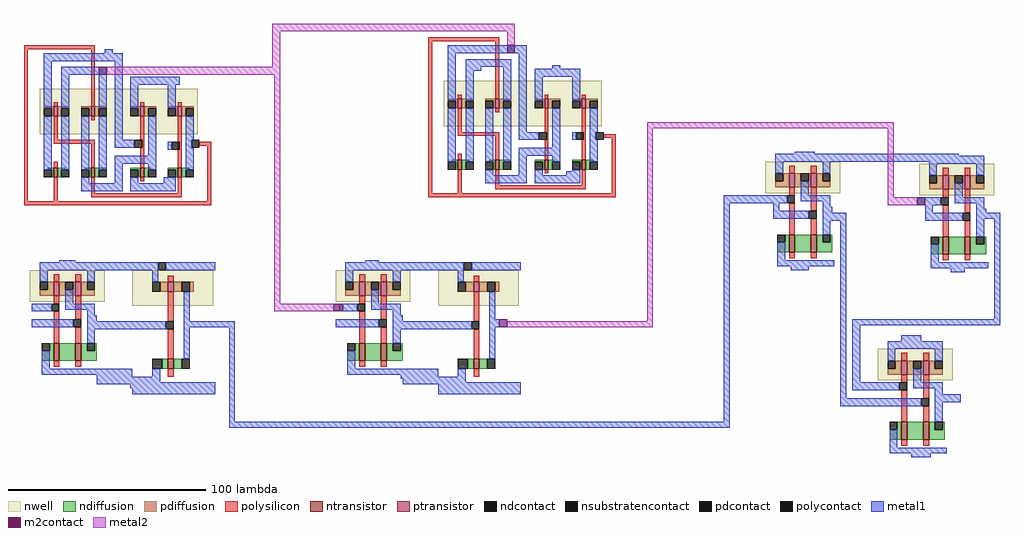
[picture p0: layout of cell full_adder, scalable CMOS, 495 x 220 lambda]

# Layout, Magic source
magic
tech scmos
<< metal1 >>
rect 41 75 45 78
rect 228 67 232 69
rect 268 68 272 70
rect 268 67 276 68
rect 77 60 79 64
rect 278 32 280 36
rect 73 27 75 31
rect 396 24 401 26
rect 275 14 279 16
rect 71 10 74 13
rect 72 9 74 10
rect 355 1 378 4
rect 355 0 375 1
rect 23 -30 26 -29
rect 178 -30 180 -29
rect 4 -55 5 -51
rect 4 -63 6 -59
rect 86 -63 107 -60
rect 158 -63 161 -59
rect 239 -61 241 -59
rect 54 -94 56 -92
rect 104 -111 107 -63
rect 191 -89 192 -87
rect 355 -111 358 0
rect 389 -34 393 -32
rect 470 -35 472 -33
rect 445 -71 449 -67
rect 470 -101 475 -97
rect 104 -114 358 -111
rect 457 -129 460 -127
<< metal2 >>
rect 126 87 249 91
rect 126 69 130 87
rect 245 80 249 87
rect 42 65 130 69
rect 127 -51 130 65
rect 316 38 441 41
rect 127 -55 157 -51
rect 316 -60 319 38
rect 438 3 441 38
rect 438 -1 453 3
rect 245 -63 319 -60
<< polycontact >>
rect 280 32 284 36
rect 75 27 79 31
<< m2contact >>
rect 245 76 249 80
rect 38 65 42 69
rect 157 -55 162 -51
rect 241 -63 245 -59
rect 453 -1 457 3
use or2  or2_0
transform 1 0 457 0 1 -75
box -83 -54 38 101
use and2  and2_1
transform 1 0 210 0 1 -97
box -52 0 42 68
use and2  and2_0
transform 1 0 55 0 1 -97
box -52 0 42 68
use xor2  xor2_0
transform 1 0 -62 0 1 52
box 62 -53 157 28
use xor2  xor2_1
transform 1 0 143 0 1 56
box 62 -53 157 28
<< end >>

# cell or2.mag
magic
tech scmos
<< metal1 >>
rect -49 99 13 100
rect -48 96 4 99
rect -83 75 -72 79
rect -77 67 -74 75
rect -4 74 5 78
rect -49 66 -40 70
rect 0 66 4 74
rect 30 67 38 70
rect -66 41 -59 43
rect -43 -24 -40 66
rect 14 40 20 42
rect 35 16 38 67
rect -37 13 38 16
rect -37 -16 -33 13
rect -9 5 -2 8
rect -9 2 -3 5
rect -37 -20 -15 -16
rect -43 -25 -14 -24
rect -43 -28 -16 -25
rect 10 -26 13 -22
rect -7 -54 1 -52
use nand2  nand2_2
transform 1 0 -17 0 1 -29
box -7 -23 31 35
use nand2  nand2_1
transform 1 0 4 0 1 65
box -7 -23 31 35
use nand2  nand2_0
transform 1 0 -74 0 1 66
box -7 -23 31 35
<< labels >>
rlabel metal1 -19 100 -19 100 5 vdd
rlabel metal1 -2 6 -2 6 1 vdd
rlabel metal1 -59 42 -59 42 1 gnd
rlabel metal1 20 41 20 41 1 gnd
rlabel metal1 -7 -53 -7 -53 1 gnd
rlabel metal1 -83 77 -83 77 3 A
rlabel metal1 -4 76 -4 76 1 B
rlabel metal1 13 -24 13 -24 1 out
<< end >>

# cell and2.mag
magic
tech scmos
<< metal1 >>
rect -20 63 1 67
rect 41 63 42 67
rect -50 42 -44 46
rect -50 34 -45 38
rect -20 37 -19 38
rect -20 33 16 37
rect 28 35 31 37
rect 29 34 31 35
rect -18 9 0 13
rect -18 8 10 9
rect -18 5 12 8
use nand2  nand2_0
transform 1 0 -45 0 1 33
box -7 -23 31 35
use not  not_0
transform 1 0 21 0 1 34
box -21 -34 21 33
<< labels >>
rlabel metal1 -50 44 -50 44 3 A
rlabel metal1 -50 36 -50 36 3 B
rlabel metal1 42 65 42 65 6 vdd
rlabel metal1 6 9 6 9 1 gnd
rlabel metal1 31 36 31 36 1 out
<< end >>

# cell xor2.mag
magic
tech scmos
<< nwell >>
rect 70 -17 150 6
<< polysilicon >>
rect 62 26 98 28
rect 62 -51 64 26
rect 77 -3 79 -1
rect 96 -3 98 26
rect 121 -3 123 -1
rect 140 -3 142 -1
rect 77 -20 79 -8
rect 96 -10 98 -8
rect 121 -20 123 -8
rect 77 -22 98 -20
rect 77 -34 79 -31
rect 96 -34 98 -22
rect 122 -24 123 -20
rect 121 -34 123 -24
rect 140 -34 142 -8
rect 151 -23 157 -21
rect 77 -51 79 -39
rect 96 -47 98 -39
rect 121 -41 123 -39
rect 140 -47 142 -39
rect 96 -49 142 -47
rect 155 -51 157 -23
rect 62 -53 157 -51
<< ndiffusion >>
rect 74 -35 77 -34
rect 76 -39 77 -35
rect 79 -35 83 -34
rect 93 -35 96 -34
rect 79 -39 81 -35
rect 95 -39 96 -35
rect 98 -35 104 -34
rect 98 -39 100 -35
rect 116 -35 121 -34
rect 120 -39 121 -35
rect 123 -35 126 -34
rect 135 -35 140 -34
rect 123 -39 125 -35
rect 139 -39 140 -35
rect 142 -35 146 -34
rect 142 -39 144 -35
<< pdiffusion >>
rect 72 -4 77 -3
rect 76 -8 77 -4
rect 79 -4 85 -3
rect 79 -8 81 -4
rect 91 -4 96 -3
rect 95 -8 96 -4
rect 98 -4 104 -3
rect 98 -8 100 -4
rect 116 -4 121 -3
rect 120 -8 121 -4
rect 123 -4 129 -3
rect 123 -8 125 -4
rect 135 -4 140 -3
rect 139 -8 140 -4
rect 142 -4 148 -3
rect 142 -8 144 -4
<< metal1 >>
rect 72 20 112 24
rect 72 -4 76 20
rect 72 -35 76 -8
rect 81 13 104 17
rect 81 -4 85 13
rect 100 -4 104 13
rect 81 -35 85 -8
rect 91 -35 95 -8
rect 100 -35 104 -8
rect 108 -20 112 20
rect 116 8 139 12
rect 116 -4 120 8
rect 135 -4 139 8
rect 108 -24 118 -20
rect 125 -28 129 -8
rect 108 -32 129 -28
rect 91 -42 95 -39
rect 108 -42 112 -32
rect 125 -35 129 -32
rect 144 -20 148 -8
rect 144 -24 147 -20
rect 144 -35 148 -24
rect 91 -46 112 -42
rect 116 -42 120 -39
rect 135 -42 139 -39
rect 116 -46 139 -42
<< ntransistor >>
rect 77 -39 79 -34
rect 96 -39 98 -34
rect 121 -39 123 -34
rect 140 -39 142 -34
<< ptransistor >>
rect 77 -8 79 -3
rect 96 -8 98 -3
rect 121 -8 123 -3
rect 140 -8 142 -3
<< polycontact >>
rect 118 -24 122 -20
rect 147 -24 151 -20
<< ndcontact >>
rect 72 -39 76 -35
rect 81 -39 85 -35
rect 91 -39 95 -35
rect 100 -39 104 -35
rect 116 -39 120 -35
rect 125 -39 129 -35
rect 135 -39 139 -35
rect 144 -39 148 -35
<< pdcontact >>
rect 72 -8 76 -4
rect 81 -8 85 -4
rect 91 -8 95 -4
rect 100 -8 104 -4
rect 116 -8 120 -4
rect 125 -8 129 -4
rect 135 -8 139 -4
rect 144 -8 148 -4
<< labels >>
rlabel metal1 83 15 83 15 1 out
rlabel metal1 129 -44 129 -44 1 gnd
rlabel metal1 128 9 128 9 1 vdd
rlabel polysilicon 122 -19 122 -19 1 va
rlabel polysilicon 141 -19 141 -19 1 vb
rlabel metal1 127 -23 127 -23 1 vad
rlabel metal1 146 -24 146 -24 1 vbd
<< end >>

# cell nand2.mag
magic
tech scmos
<< nwell >>
rect -7 14 31 30
<< polysilicon >>
rect 5 24 8 28
rect 16 24 19 28
rect 5 13 8 17
rect 5 -7 8 9
rect 16 5 19 17
rect 16 -7 19 1
rect 5 -19 8 -16
rect 16 -19 19 -16
<< ndiffusion >>
rect 3 -11 5 -7
rect -1 -16 5 -11
rect 8 -16 16 -7
rect 19 -11 22 -7
rect 26 -11 27 -7
rect 19 -16 27 -11
<< pdiffusion >>
rect 2 20 5 24
rect -2 17 5 20
rect 8 20 11 24
rect 15 20 16 24
rect 8 17 16 20
rect 19 20 22 24
rect 19 17 26 20
<< metal1 >>
rect 8 34 13 35
rect -2 30 26 34
rect -2 24 2 30
rect 22 24 26 30
rect 11 13 15 20
rect -1 9 4 13
rect 11 10 26 13
rect 22 7 26 10
rect -1 1 15 5
rect 22 3 27 7
rect 22 -7 26 3
rect -1 -20 3 -11
rect -1 -23 28 -20
<< ntransistor >>
rect 5 -16 8 -7
rect 16 -16 19 -7
<< ptransistor >>
rect 5 17 8 24
rect 16 17 19 24
<< polycontact >>
rect 4 9 8 13
rect 15 1 19 5
<< ndcontact >>
rect -1 -11 3 -7
rect 22 -11 26 -7
<< pdcontact >>
rect -2 20 2 24
rect 11 20 15 24
rect 22 20 26 24
<< labels >>
rlabel metal1 -1 11 -1 11 1 A
rlabel metal1 -1 3 -1 3 1 B
rlabel metal1 27 5 27 5 7 out
rlabel metal1 10 35 10 35 5 vdd
rlabel metal1 28 -21 28 -21 8 gnd
<< end >>

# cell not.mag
magic
tech scmos
<< nwell >>
rect -21 11 20 29
<< polysilicon >>
rect -3 23 0 26
rect -3 3 0 18
rect -3 -16 0 -1
rect -3 -25 0 -21
<< ndiffusion >>
rect -6 -21 -3 -16
rect 0 -21 4 -16
<< pdiffusion >>
rect -7 18 -3 23
rect 0 18 4 23
rect 8 18 10 23
<< metal1 >>
rect -21 29 -8 33
rect -4 29 20 33
rect -11 23 -8 29
rect -6 -1 -4 3
rect 5 -16 8 18
rect -11 -28 -7 -21
rect -21 -34 21 -28
<< ntransistor >>
rect -3 -21 0 -16
<< ptransistor >>
rect -3 18 0 23
<< polycontact >>
rect -4 -1 0 3
<< ndcontact >>
rect -11 -21 -6 -16
rect 4 -21 8 -16
<< pdcontact >>
rect -11 18 -7 23
rect 4 18 8 23
<< nsubstratencontact >>
rect -8 29 -4 33
<< labels >>
rlabel metal1 -5 1 -5 1 1 A
rlabel metal1 6 0 6 0 1 out
rlabel metal1 2 31 2 31 5 vdd
rlabel metal1 -3 -31 -3 -31 1 gnd
<< end >>
